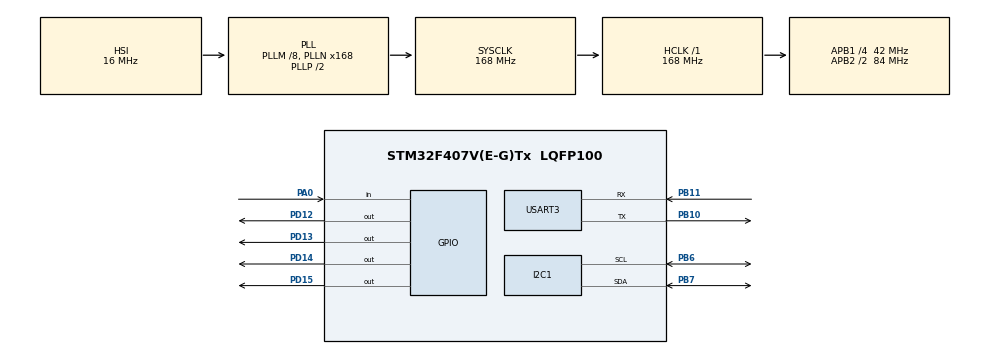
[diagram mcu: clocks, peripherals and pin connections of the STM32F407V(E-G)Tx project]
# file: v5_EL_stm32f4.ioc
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Mcu.Family=STM32F4
Mcu.Name=STM32F407V(E-G)Tx
Mcu.Package=LQFP100
NVIC.PriorityGroup=NVIC_PRIORITYGROUP_4
PA0-WKUP.Signal=GPIO_Input
PA13.Mode=Serial_Wire
PA13.Signal=SYS_JTMS-SWDIO
PA14.Mode=Serial_Wire
PA14.Signal=SYS_JTCK-SWCLK
PB10.Mode=Asynchronous
PB10.Signal=USART3_TX
PB11.Mode=Asynchronous
PB11.Signal=USART3_RX
PB6.Mode=I2C
PB6.Signal=I2C1_SCL
PB7.Mode=I2C
PB7.Signal=I2C1_SDA
PD12.Signal=GPIO_Output
PD13.Signal=GPIO_Output
PD14.Signal=GPIO_Output
PD15.Signal=GPIO_Output
PH0-OSC_IN.Mode=HSE-External-Oscillator
PH0-OSC_IN.Signal=RCC_OSC_IN
PH1-OSC_OUT.Mode=HSE-External-Oscillator
PH1-OSC_OUT.Signal=RCC_OSC_OUT
ProjectManager.HeapSize=0x200
ProjectManager.StackSize=0x400
ProjectManager.TargetToolchain=MDK-ARM V5.27
RCC.48MHZClocksFreq_Value=84000000
RCC.AHBFreq_Value=168000000
RCC.APB1CLKDivider=RCC_HCLK_DIV4
RCC.APB1Freq_Value=42000000
RCC.APB1TimFreq_Value=84000000
RCC.APB2CLKDivider=RCC_HCLK_DIV2
RCC.APB2Freq_Value=84000000
RCC.APB2TimFreq_Value=168000000
RCC.CortexFreq_Value=168000000
RCC.HCLKFreq_Value=168000000
RCC.HSE_VALUE=25000000
RCC.HSI_VALUE=16000000
RCC.LSE_VALUE=32768
RCC.PLLM=8
RCC.PLLN=168
RCC.SYSCLKFreq_VALUE=168000000
RCC.SYSCLKSource=RCC_SYSCLKSOURCE_PLLCLK
RCC.VCOOutputFreq_Value=336000000
USART3.VirtualMode=VM_ASYNC
board=custom

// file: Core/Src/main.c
/* USER CODE BEGIN Header */
/**
  ******************************************************************************
  * @file           : main.c
  * @brief          : Main program body
  ******************************************************************************
  * @attention
  *
  * <h2><center>&copy; Copyright (c) 2020 STMicroelectronics.
  * All rights reserved.</center></h2>
  *
  * This software component is licensed by ST under BSD 3-Clause license,
  * the "License"; You may not use this file except in compliance with the
  * License. You may obtain a copy of the License at:
  *                        opensource.org/licenses/BSD-3-Clause
  *
  ******************************************************************************
  */
/* USER CODE END Header */
#include "main.h"

/* USER CODE BEGIN Includes */
#include <stdio.h>
#include <string.h>
#include <stdlib.h>
#include <math.h>
#include "i2c-lcd.h"
/* USER CODE END Includes */

I2C_HandleTypeDef hi2c1;

UART_HandleTypeDef huart3;

void SystemClock_Config(void);
static void MX_GPIO_Init(void);
static void MX_USART3_UART_Init(void);
static void MX_I2C1_Init(void);

/* USER CODE BEGIN 0 */

#define Length 50

//Transmitter Buffer
uint8_t Tx_Buffer[Length];
char 		Rx_Buffer[Length];
char 		Rx_B_Buffer[Length];
char 		Rx_B_Data[Length];
char	  convertFloat[Length];
double e      = 0;
double value  = 0;
double tValue = 0;
double a = 0;
int 	 s = 0;
uint16_t delay = 10;

// C komutu icin senaryo
uint16_t P     = 200;
uint16_t Vrms  = 220;
uint16_t Irms  = 1;
uint16_t pf    = 1;
uint16_t f     = 50;
uint16_t dcCur = 5;
uint16_t dcVol = 30;

// A komutu ile kimlik bilgisi gonderimi
void command_A(void)
{
	uint16_t sendPacket[Length];

	sendPacket[0] = 1;
	sendPacket[1] = 2;
	sendPacket[2] = 3;

	uint8_t packetNumber = 3;
	uint16_t crc  = 0;
	// komut + paket sayisi + paket bytelari + crc

	// A komutu gonderilecek
	HAL_UART_Transmit(&huart3,Tx_Buffer,sprintf((char *)Tx_Buffer,"%c\n",'A'),1);
	HAL_Delay(delay);
	// paket sayi degeri gonderilecek
	HAL_UART_Transmit(&huart3,Tx_Buffer,sprintf((char *)Tx_Buffer,"%d\n",packetNumber),1);
	HAL_Delay(delay);
	// paketin bytelari sirayla gönderilecek
	for(int i=0;i<=packetNumber-1;i++)
	{
		if(i == 0)
			{
				HAL_UART_Transmit(&huart3,Tx_Buffer,sprintf((char *)Tx_Buffer,"Device Information:\n"),1);
				HAL_Delay(delay);
				//sendPacket'taki tüm paketler crc degiskeninde toplanacak
			}
		else if(i == 1)
			{
				HAL_UART_Transmit(&huart3,Tx_Buffer,sprintf((char *)Tx_Buffer,"Model:ARM Cortex-M4\n"),1);
				HAL_Delay(delay);
				//sendPacket'taki tüm paketler crc degiskeninde toplanacak
			}
		else
			{
				HAL_UART_Transmit(&huart3,Tx_Buffer,sprintf((char *)Tx_Buffer,"VersionNum:STM32F407VG\n"),1);
				HAL_Delay(delay);
			}
				crc = crc + sendPacket[i];
	}
	// crc gönderilecek
	HAL_UART_Transmit(&huart3,Tx_Buffer,sprintf((char *)Tx_Buffer,"%d\n",crc),1);
	HAL_Delay(delay);
}

// B komutu ile sabit mod secimi
void command_B(char mode,float value)
{
	uint16_t sendPacket[Length];

	sendPacket[0] = 1;
	sendPacket[1] = 2;

	uint8_t packetNumber = 2;
	uint16_t crc  = 0;
	// komut + paket sayisi + paket bytelari + crc

	// A komutu gonderilecek
	HAL_UART_Transmit(&huart3,Tx_Buffer,sprintf((char *)Tx_Buffer,"%c\n",'B'),1);
	HAL_Delay(delay);
	// paket sayi degeri gonderilecek
	HAL_UART_Transmit(&huart3,Tx_Buffer,sprintf((char *)Tx_Buffer,"%d\n",packetNumber),1);
	HAL_Delay(delay);
	// paketin bytelari sirayla gönderilecek
	for(int i=0;i<=packetNumber-1;i++)
	{
		if(i == 0)
			{
				HAL_UART_Transmit(&huart3,Tx_Buffer,sprintf((char *)Tx_Buffer,"Selected Mode:%c\n",mode),1);
				HAL_Delay(delay);
				//sendPacket'taki tüm paketler crc degiskeninde toplanacak
			}
		else
			{
				HAL_UART_Transmit(&huart3,Tx_Buffer,sprintf((char *)Tx_Buffer,"Selected Value:%.3f\n",value),1);
				HAL_Delay(delay);
			}
				crc = crc + sendPacket[i];
	}
	// crc gönderilecek
	HAL_UART_Transmit(&huart3,Tx_Buffer,sprintf((char *)Tx_Buffer,"%d\n",crc),1);
	HAL_Delay(delay);
}
// Vrms gibi C komutundaki gönderecegimiz degerler globalde tanimli degilse hazirlanan fonksiyon;
void command_C(uint16_t P_c,uint16_t Vrms_c,uint16_t Irms_c,uint16_t pf_c,uint16_t f_c,uint16_t dcCur_c,uint16_t dcVol_c)
{
	// ornegin gucu 300W kabul edelim, 300 > 256 oldugu icin sendPacket 16bitlik olarak ayarlandi
	uint16_t sendPacket[Length];
	uint16_t crc = 0;
	uint8_t packetNumber = 7;
	// buffera olcum sonuc atamasi yapildi, toplam 7 paket gonderilecektir
	sendPacket[0] = P_c;
	sendPacket[1] = Vrms_c;
	sendPacket[2] = Irms_c;
	sendPacket[3] = pf_c;
	sendPacket[4] = f_c;
	sendPacket[5] = dcCur_c;
	sendPacket[6] = dcVol_c;

	// komut + paket sayisi + paket bytelari + crc

	// C komutu gonderilecek
	HAL_UART_Transmit(&huart3,Tx_Buffer,sprintf((char *)Tx_Buffer,"%c\n",'C'),1);
	HAL_Delay(delay);
	// paket sayimiz yani 7 degeri gonderilecek
	HAL_UART_Transmit(&huart3,Tx_Buffer,sprintf((char *)Tx_Buffer,"%d\n",packetNumber),1);
	HAL_Delay(delay);
	// paketin bytelari sirayla gönderilecek
	for(int i=0;i <= packetNumber-1;i++)
		{
			HAL_UART_Transmit(&huart3,Tx_Buffer,sprintf((char *)Tx_Buffer,"%d\n",sendPacket[i]),1);
			HAL_Delay(delay);
			//sendPacket'taki tüm paketler crc degiskeninde toplanacak
			crc = crc + sendPacket[i];
		}
	// crc gönderilecek
	HAL_UART_Transmit(&huart3,Tx_Buffer,sprintf((char *)Tx_Buffer,"%d\n",crc),1);
	HAL_Delay(delay);
}
void bufferClean(void)
{
	for(int o=0;o<=Length;o++)
		{
			Rx_B_Buffer[o] = 0;
		}
	for(int o=0;o<=Length;o++)
		{
			Rx_Buffer[o] = 0;
		}
}

float chartoInt(char x)
{
	switch(x)
	{
		case '0': e = 0 ;break;
		case '1': e = 1 ;break;
		case '2': e = 2 ;break;
		case '3': e = 3 ;break;
		case '4': e = 4 ;break;
		case '5': e = 5 ;break;
		case '6': e = 6 ;break;
		case '7': e = 7 ;break;
		case '8': e = 8 ;break;
		case '9': e = 9 ;break;
		default:break;
	}
	return e;
}

/* USER CODE END 0 */

int main(void)
{

  /* MCU Configuration--------------------------------------------------------*/

  /* Reset of all peripherals, Initializes the Flash interface and the Systick. */
  HAL_Init();

  /* Configure the system clock */
  SystemClock_Config();

  /* Initialize all configured peripherals */
  MX_GPIO_Init();
  MX_USART3_UART_Init();
  MX_I2C1_Init();
  /* USER CODE BEGIN 2 */
	lcd_init();
	lcd_send_cmd (0x80|0x40);
	lcd_send_string("This Is Test Code");
	HAL_Delay(1000);
	lcd_clear();

  /* USER CODE END 2 */

  /* Infinite loop */
  /* USER CODE BEGIN WHILE */
  while (1)
  {

		//Arayüzden Komut Bekliyoruz
		HAL_UART_Receive(&huart3,(uint8_t*)Rx_Buffer,Length,1000);
		HAL_UART_Transmit(&huart3,Tx_Buffer,sprintf((char *)Tx_Buffer,"Waitting For Command\n"),1);
		HAL_Delay(delay);
		lcd_clear();
	  lcd_send_cmd (0x80|0x00);
		lcd_send_string("Enter Command:");
		lcd_send_string(Rx_Buffer);
		lcd_send_cmd (0x80|0x40);
		lcd_send_string("A: Model");
		lcd_send_cmd (0x80|0x14);
		lcd_send_string("B: Mode");
		lcd_send_cmd (0x80|0x54);
		lcd_send_string("C: Efficiency");
		HAL_UART_Transmit(&huart3,Tx_Buffer,sprintf((char *)Tx_Buffer,"Commands:A,B,C\n"),1);
		HAL_Delay(delay);

		// arayüzden A komutu geldiginde
		if(Rx_Buffer[0] == 'A')
			{
				lcd_clear();
				lcd_send_cmd (0x80|0x00);
				lcd_send_string("Selected Command:");
				lcd_send_string(Rx_Buffer);
				HAL_GPIO_WritePin(GPIOD, GPIO_PIN_12,GPIO_PIN_SET);
				command_A();
				lcd_send_cmd (0x80|0x14);
				lcd_send_string("      -Sended-");
			  lcd_send_cmd (0x80|0x54);
				lcd_send_string("   Model & Version");
				HAL_Delay(3000);
				Rx_Buffer[0] = 0;
			}

		// arayüzden B komutu geldiginde
		if(Rx_Buffer[0] == 'B')
			{
				lcd_clear();
				lcd_send_cmd (0x80|0x00);
				lcd_send_string("Selected Command:");
				lcd_send_string(Rx_Buffer);
																												//Gelen datalari  Rx_B_Data adli dizide toplayacagiz
				//0. indekse 'B' yazilacak
				Rx_B_Data[0] = Rx_Buffer[0];
				Rx_Buffer[0] = 0;
				HAL_GPIO_WritePin(GPIOD, GPIO_PIN_13,GPIO_PIN_SET);

				HAL_UART_Transmit(&huart3,Tx_Buffer,sprintf((char *)Tx_Buffer,"Select Mode:\n"),1);
				HAL_Delay(delay);

				while(1)
				{
					HAL_UART_Receive(&huart3,(uint8_t*)Rx_B_Buffer,Length,1);

					if(Rx_B_Buffer[0] == 'I' || Rx_B_Buffer[0] == 'R' || Rx_B_Buffer[0] == 'V' || Rx_B_Buffer[0] == 'P')
					{
						lcd_send_cmd (0x80|0x40);
						lcd_send_string("Selected Mode:");
						lcd_send_string(Rx_B_Buffer);
						break;
					}
					else
					{
						HAL_UART_Transmit(&huart3,Tx_Buffer,sprintf((char *)Tx_Buffer,"Please Select Mode\n"),10);
						HAL_Delay(100);
						HAL_UART_Transmit(&huart3,Tx_Buffer,sprintf((char *)Tx_Buffer,"Cur:I Res:R\n"),10);
						HAL_Delay(1000);
						HAL_UART_Transmit(&huart3,Tx_Buffer,sprintf((char *)Tx_Buffer,"Volt:V Pow:P\n"),10);
						HAL_Delay(1000);
					}
				}
				//1. indekse secilen mod yazilacak
				Rx_B_Data[1] = Rx_B_Buffer[0];
				HAL_UART_Transmit(&huart3,Tx_Buffer,sprintf((char *)Tx_Buffer,"Selected Mode:\n"),1);
				HAL_Delay(delay);
				HAL_UART_Transmit(&huart3,Tx_Buffer,sprintf((char *)Tx_Buffer,"Const %c Mode\n",Rx_B_Buffer[0]),1);
				HAL_Delay(delay);

				HAL_UART_Transmit(&huart3,Tx_Buffer,sprintf((char *)Tx_Buffer,"Enter Value:\n"),1);
				HAL_Delay(delay);

				while(1)
				{
					HAL_UART_Receive(&huart3,(uint8_t*)Rx_B_Buffer,Length,1000);

					if(Rx_B_Buffer[0] != Rx_B_Data[1])
					{

						for(int k=0;k<=Length;k++)
							{
								if(Rx_B_Buffer[k] == '.')
									{
										a = k;
									}
							}

						s = strlen(Rx_B_Buffer);
						HAL_Delay(1);
						//tam sayi olma durumu
						if(a == 0)
						{

							for(int k=1;k<=s;k++)
								{
									value = chartoInt(Rx_B_Buffer[k-1]);
									value = value * pow(10,s-k);
									tValue = tValue + value;
								}
						}
						// tam sayi olmama durumu
						if(a != 0)
						{
							for(int k=1;k<=s-a-1;k++)
								{
									value = chartoInt(Rx_B_Buffer[k-1]);
									value = value * pow(10,s-a-k-1);
									tValue = tValue + value;
								}
						  for(int k=a+1;k<=s-1;k++)
								{
									value = chartoInt(Rx_B_Buffer[k]);
									value = value / pow(10,k-a);
									tValue = tValue + value;
								}
						}
						break;
					}
					else
					{
						HAL_UART_Transmit(&huart3,Tx_Buffer,sprintf((char *)Tx_Buffer,"Please Enter Value\n"),10);
						HAL_Delay(100);
					}
				}

				lcd_send_cmd (0x80|0x14);
				lcd_send_string("Selected Value:");
				lcd_send_cmd (0x80|0x54);
				lcd_send_string(Rx_B_Buffer);
				HAL_Delay(1000);
				command_B(Rx_B_Data[1],tValue);
				tValue = 0;
				value = 0;
				bufferClean();
			}

		// arayüzden C komutu geldiginde
	  if(Rx_Buffer[0] == 'C')
			{
				lcd_clear();
				lcd_send_cmd (0x80|0x00);
				lcd_send_string("Selected Command:");
				lcd_send_string(Rx_Buffer);

				HAL_GPIO_WritePin(GPIOD, GPIO_PIN_14,GPIO_PIN_SET);

				while(1)
				{
					HAL_UART_Receive(&huart3,(uint8_t*)Rx_Buffer,Length,1);

					lcd_send_cmd (0x80|0x14);
					lcd_send_string("  -SENDING DATA-  ");
					lcd_send_cmd (0x80|0x54);
					lcd_send_string("  Send X to exit");

					if(Rx_Buffer[0] == 'X')
					{
						break;
					}
					else
					{
						command_C(P,Vrms,Irms,pf,f,dcCur,dcVol);
					}
				}
				bufferClean();
			}

    /* USER CODE END WHILE */
		HAL_GPIO_WritePin(GPIOD, GPIO_PIN_12|GPIO_PIN_13|GPIO_PIN_14|GPIO_PIN_15, GPIO_PIN_RESET);
  }
}

void SystemClock_Config(void)
{
  RCC_OscInitTypeDef RCC_OscInitStruct = {0};
  RCC_ClkInitTypeDef RCC_ClkInitStruct = {0};

  /** Configure the main internal regulator output voltage
  */
  __HAL_RCC_PWR_CLK_ENABLE();
  __HAL_PWR_VOLTAGESCALING_CONFIG(PWR_REGULATOR_VOLTAGE_SCALE1);
  /** Initializes the RCC Oscillators according to the specified parameters
  * in the RCC_OscInitTypeDef structure.
  */
  RCC_OscInitStruct.OscillatorType = RCC_OSCILLATORTYPE_HSI;
  RCC_OscInitStruct.HSIState = RCC_HSI_ON;
  RCC_OscInitStruct.HSICalibrationValue = RCC_HSICALIBRATION_DEFAULT;
  RCC_OscInitStruct.PLL.PLLState = RCC_PLL_ON;
  RCC_OscInitStruct.PLL.PLLSource = RCC_PLLSOURCE_HSI;
  RCC_OscInitStruct.PLL.PLLM = 8;
  RCC_OscInitStruct.PLL.PLLN = 168;
  RCC_OscInitStruct.PLL.PLLP = RCC_PLLP_DIV2;
  RCC_OscInitStruct.PLL.PLLQ = 4;
  if (HAL_RCC_OscConfig(&RCC_OscInitStruct) != HAL_OK)
  {
    Error_Handler();
  }
  /** Initializes the CPU, AHB and APB buses clocks
  */
  RCC_ClkInitStruct.ClockType = RCC_CLOCKTYPE_HCLK|RCC_CLOCKTYPE_SYSCLK
                              |RCC_CLOCKTYPE_PCLK1|RCC_CLOCKTYPE_PCLK2;
  RCC_ClkInitStruct.SYSCLKSource = RCC_SYSCLKSOURCE_PLLCLK;
  RCC_ClkInitStruct.AHBCLKDivider = RCC_SYSCLK_DIV1;
  RCC_ClkInitStruct.APB1CLKDivider = RCC_HCLK_DIV4;
  RCC_ClkInitStruct.APB2CLKDivider = RCC_HCLK_DIV2;

  if (HAL_RCC_ClockConfig(&RCC_ClkInitStruct, FLASH_LATENCY_5) != HAL_OK)
  {
    Error_Handler();
  }
}

static void MX_I2C1_Init(void)
{

  hi2c1.Instance = I2C1;
  hi2c1.Init.ClockSpeed = 100000;
  hi2c1.Init.DutyCycle = I2C_DUTYCYCLE_2;
  hi2c1.Init.OwnAddress1 = 0;
  hi2c1.Init.AddressingMode = I2C_ADDRESSINGMODE_7BIT;
  hi2c1.Init.DualAddressMode = I2C_DUALADDRESS_DISABLE;
  hi2c1.Init.OwnAddress2 = 0;
  hi2c1.Init.GeneralCallMode = I2C_GENERALCALL_DISABLE;
  hi2c1.Init.NoStretchMode = I2C_NOSTRETCH_DISABLE;
  if (HAL_I2C_Init(&hi2c1) != HAL_OK)
  {
    Error_Handler();
  }

}

static void MX_USART3_UART_Init(void)
{

  huart3.Instance = USART3;
  huart3.Init.BaudRate = 115200;
  huart3.Init.WordLength = UART_WORDLENGTH_8B;
  huart3.Init.StopBits = UART_STOPBITS_1;
  huart3.Init.Parity = UART_PARITY_NONE;
  huart3.Init.Mode = UART_MODE_TX_RX;
  huart3.Init.HwFlowCtl = UART_HWCONTROL_NONE;
  huart3.Init.OverSampling = UART_OVERSAMPLING_16;
  if (HAL_UART_Init(&huart3) != HAL_OK)
  {
    Error_Handler();
  }

}

static void MX_GPIO_Init(void)
{
  GPIO_InitTypeDef GPIO_InitStruct = {0};

  /* GPIO Ports Clock Enable */
  __HAL_RCC_GPIOH_CLK_ENABLE();
  __HAL_RCC_GPIOA_CLK_ENABLE();
  __HAL_RCC_GPIOB_CLK_ENABLE();
  __HAL_RCC_GPIOD_CLK_ENABLE();

  /*Configure GPIO pin Output Level */
  HAL_GPIO_WritePin(GPIOD, GPIO_PIN_12|GPIO_PIN_13|GPIO_PIN_14|GPIO_PIN_15, GPIO_PIN_RESET);

  /*Configure GPIO pin : PA0 */
  GPIO_InitStruct.Pin = GPIO_PIN_0;
  GPIO_InitStruct.Mode = GPIO_MODE_INPUT;
  GPIO_InitStruct.Pull = GPIO_NOPULL;
  HAL_GPIO_Init(GPIOA, &GPIO_InitStruct);

  /*Configure GPIO pins : PD12 PD13 PD14 PD15 */
  GPIO_InitStruct.Pin = GPIO_PIN_12|GPIO_PIN_13|GPIO_PIN_14|GPIO_PIN_15;
  GPIO_InitStruct.Mode = GPIO_MODE_OUTPUT_PP;
  GPIO_InitStruct.Pull = GPIO_NOPULL;
  GPIO_InitStruct.Speed = GPIO_SPEED_FREQ_LOW;
  HAL_GPIO_Init(GPIOD, &GPIO_InitStruct);

}

void Error_Handler(void)
{
}

/************************ (C) COPYRIGHT STMicroelectronics *****END OF FILE****/
